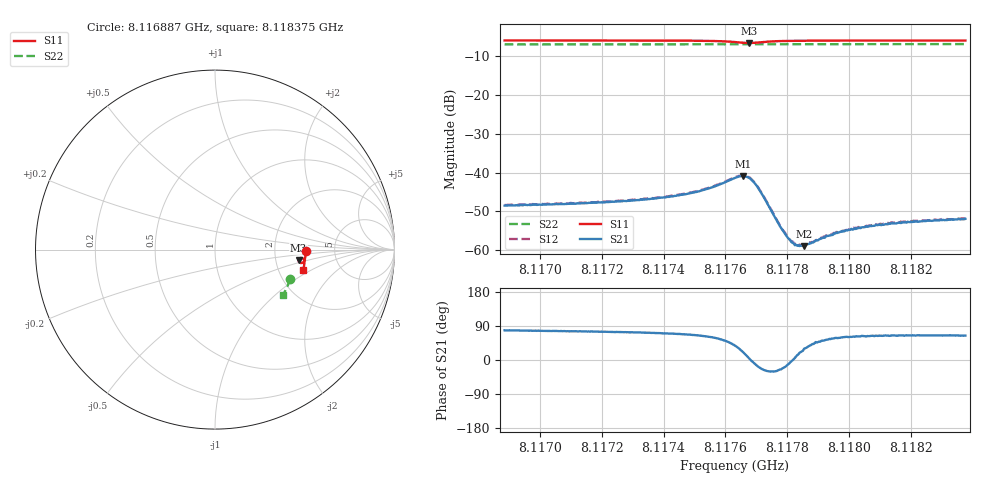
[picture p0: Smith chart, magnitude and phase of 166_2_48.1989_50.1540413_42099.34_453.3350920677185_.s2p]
#  HZ  S  RI  R  50.00
! Rohde & Schwarz Vector Network Analyzer
! Rohde-Schwarz,ZNB20-2Port,1311601062101988,3.16
! Created: UTC 3/20/2024, 11:43:31 AM
! freq[Hz]  re:S11  im:S11  re:S21  im:S21  re:S12  im:S12  re:S22  im:S22
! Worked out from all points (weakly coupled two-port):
!   401 points, 8.116887 GHz to 8.118375 GHz, reference 50 ohm
!   highest |S21| = -40.86 dB at 8.117657 GHz (marker M1); lowest = -59.0 dB at 8.117854 GHz (marker M2)
!   lowest |S11| = -6.6 dB at 8.117675 GHz (marker M3), VSWR 2.77, Z = 135 - j20.3 ohm
!   |S11| at or under -10 dB: nowhere
!   |S22| runs from -6.9 to -6.8 dB; largest |S21 - S12| = 0.00022
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8.1168868e9  0.5063 -0.00834  0.000758 0.00368  0.000822 0.00375  0.4203 -0.1619
8.1171361e9  0.5049 -0.028  0.00103 0.00389  0.00104 0.00396  0.4143 -0.1783
8.1173853e9  0.5022 -0.0493  0.00154 0.00446  0.00162 0.00453  0.4078 -0.1945
8.1174634e9  0.5 -0.0571  0.00196 0.00484  0.00206 0.00491  0.4055 -0.1997
8.1175229e9  0.497 -0.0641  0.0026 0.0053  0.00273 0.00534  0.4038 -0.2035
8.1175676e9  0.4927 -0.0698  0.00353 0.00569  0.0037 0.00578  0.4022 -0.2064
8.1176308e9  0.4772 -0.0747  0.00674 0.00526  0.00694 0.00529  0.3997 -0.2101
8.1176569e9  0.4677 -0.0686  0.00847 0.00321  0.00864 0.00321  0.3986 -0.2114
8.1176755e9  0.4654 -0.0588  0.00857 0.000769  0.00873 0.000722  0.3981 -0.212
8.1176903e9  0.4686 -0.0512  0.00759 -0.000956  0.00768 -0.00102  0.3978 -0.2126
8.1177052e9  0.4744 -0.0469  0.00609 -0.00191  0.00618 -0.002  0.3979 -0.2133
8.1177759e9  0.4942 -0.0538  0.00184 -0.000866  0.00188 -0.000948  0.3964 -0.2181
8.1178057e9  0.4965 -0.0587  0.00136 -0.000227  0.00139 -0.00024  0.3957 -0.22
8.1178205e9  0.4974 -0.0609  0.00122 5.38e-05  0.00125 3.08e-05  0.3953 -0.2211
8.1178317e9  0.4977 -0.0625  0.00111 0.000249  0.00116 0.000247  0.3949 -0.2219
8.117854e9  0.4981 -0.0655  0.00098 0.000558  0.00104 0.000523  0.3942 -0.2231
8.1178801e9  0.4984 -0.0687  0.00093 0.000842  0.000956 0.000876  0.3932 -0.2249
8.1179173e9  0.4985 -0.0728  0.000907 0.00113  0.000951 0.00116  0.3921 -0.2273
8.1179805e9  0.4981 -0.0791  0.000876 0.00154  0.000935 0.00152  0.39 -0.2312
8.118014e9  0.4979 -0.0822  0.000884 0.00165  0.000909 0.00172  0.389 -0.2333
8.1181293e9  0.4964 -0.0921  0.000978 0.00197  0.000977 0.00197  0.3851 -0.2405
8.1183748e9  0.4924 -0.1113  0.00109 0.00229  0.00109 0.00233  0.3762 -0.2555
